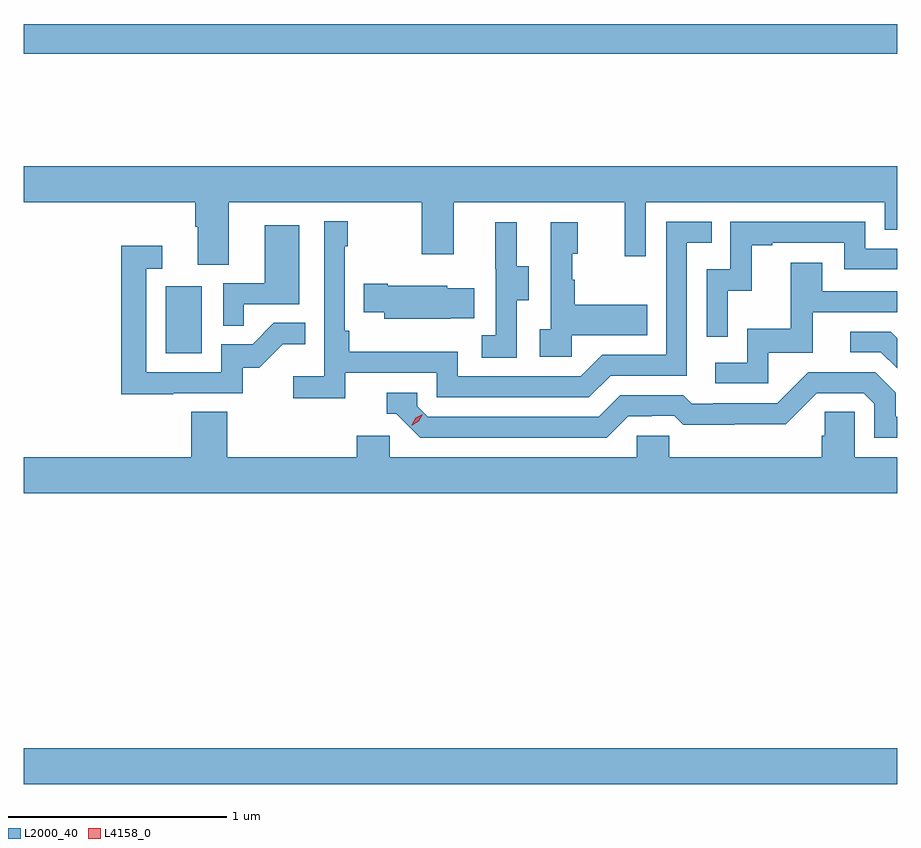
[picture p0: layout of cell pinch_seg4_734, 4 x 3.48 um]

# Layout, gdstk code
import gdstk
lib = gdstk.Library(unit=1e-6, precision=1e-09)
def R(c, l, rs):  # rectangles x0, y0, x1, y1
    for r in rs: c.add(gdstk.rectangle(r[:2], r[2:], *l))
def P(c, l, *ps):  # polygons
    for p in ps: c.add(gdstk.Polygon(p, *l))
L2000_40 = (2000, 40)
L4158_0 = (4158, 0)

pinch_seg4_734 = lib.new_cell('pinch_seg4_734')
R(pinch_seg4_734, L2000_40, [(874.847,822.128,878.847,822.292), (875.498,824.1,875.662,824.407), (874.847,825.472,878.847,825.608)])
P(pinch_seg4_734, L2000_40, [(875.785,824.792),(876.67,824.792),(876.67,824.553),(876.817,824.553),(876.817,824.792),(877.598,824.792),(877.598,824.544),(877.695,824.544),(877.695,824.792),(878.79,824.792),(878.79,824.665),(878.847,824.665),(878.847,824.956),(874.847,824.956),(874.847,824.792),(875.633,824.792),(875.633,824.68),(875.645,824.68),(875.645,824.506),(875.785,824.506)],
  [(876.32,824.01),(876.738,824.01),(876.738,823.899),(877.435,823.899),(877.534,823.998),(877.884,823.998),(877.884,824.607),(877.997,824.607),(877.997,824.703),(877.788,824.703),(877.788,824.094),(877.497,824.094),(877.398,823.995),(876.834,823.995),(876.834,824.107),(876.338,824.107),(876.338,824.203),(876.318,824.203),(876.318,824.591),(876.331,824.591),(876.331,824.704),(876.222,824.704),(876.222,823.996),(876.081,823.996),(876.081,823.894),(876.32,823.894)],
  [(878.07,824.387),(878.18,824.387),(878.18,824.595),(878.275,824.595),(878.275,824.607),(878.604,824.607),(878.604,824.484),(878.847,824.484),(878.847,824.58),(878.7,824.58),(878.7,824.703),(878.082,824.703),(878.082,824.484),(877.974,824.484),(877.974,824.175),(878.07,824.175)],
  [(877.104,824.344),(877.159,824.344),(877.159,824.499),(877.105,824.499),(877.105,824.701),(877.007,824.701),(877.007,824.487),(877.008,824.487),(877.008,824.183),(876.945,824.183),(876.945,824.08),(877.104,824.08)],
  [(877.356,824.183),(877.703,824.183),(877.703,824.323),(877.369,824.323),(877.369,824.438),(877.359,824.438),(877.359,824.556),(877.384,824.556),(877.384,824.701),(877.26,824.701),(877.26,824.21),(877.209,824.21),(877.209,824.085),(877.356,824.085)],
  [(875.855,824.325),(876.109,824.325),(876.109,824.686),(875.951,824.686),(875.951,824.421),(875.76,824.421),(875.76,824.227),(875.855,824.227)],
  [(875.531,823.917),(875.85,823.917),(875.85,824.034),(875.926,824.034),(876.033,824.141),(876.137,824.141),(876.137,824.24),(875.993,824.24),(875.895,824.142),(875.751,824.142),(875.751,824.013),(875.409,824.013),(875.409,824.487),(875.482,824.487),(875.482,824.593),(875.293,824.593),(875.293,823.912),(875.531,823.912)],
  [(878.256,824.103),(878.461,824.103),(878.461,824.289),(878.847,824.289),(878.847,824.385),(878.503,824.385),(878.503,824.515),(878.359,824.515),(878.359,824.212),(878.16,824.212),(878.16,824.058),(878.013,824.058),(878.013,823.962),(878.256,823.962)],
  [(876.803,824.261),(876.911,824.261),(876.911,824.398),(876.786,824.398),(876.786,824.41),(876.514,824.41),(876.514,824.418),(876.403,824.418),(876.403,824.288),(876.497,824.288),(876.497,824.258),(876.803,824.258)],
  [(878.847,824.17),(878.818,824.199),(878.631,824.199),(878.631,824.106),(878.772,824.106),(878.847,824.031)],
  [(877.615,823.812),(877.722,823.812),(877.722,823.815),(877.825,823.815),(877.867,823.773),(878.1,823.773),(878.1,823.775),(878.336,823.775),(878.478,823.917),(878.694,823.917),(878.742,823.869),(878.742,823.713),(878.847,823.713),(878.847,823.809),(878.839,823.809),(878.839,823.919),(878.745,824.013),(878.439,824.013),(878.298,823.872),(878.005,823.872),(878.005,823.869),(877.906,823.869),(877.867,823.908),(877.578,823.908),(877.479,823.809),(876.696,823.809),(876.648,823.857),(876.648,823.92),(876.509,823.92),(876.509,823.824),(876.552,823.824),(876.663,823.713),(877.516,823.713)],
  [(878.847,823.624),(878.652,823.624),(878.652,823.832),(878.515,823.832),(878.515,823.722),(878.501,823.722),(878.501,823.624),(877.803,823.624),(877.803,823.722),(877.653,823.722),(877.653,823.624),(876.522,823.624),(876.522,823.722),(876.371,823.722),(876.371,823.624),(875.78,823.624),(875.78,823.832),(875.615,823.832),(875.615,823.624),(874.847,823.624),(874.847,823.46),(878.847,823.46)])
P(pinch_seg4_734, L4158_0, [(876.624,823.771),(876.624,823.772),(876.642,823.804),(876.673,823.822),(876.673,823.822),(876.673,823.822),(876.656,823.79),(876.625,823.771)])

lib.write_gds('pinch_seg4_734.gds')
